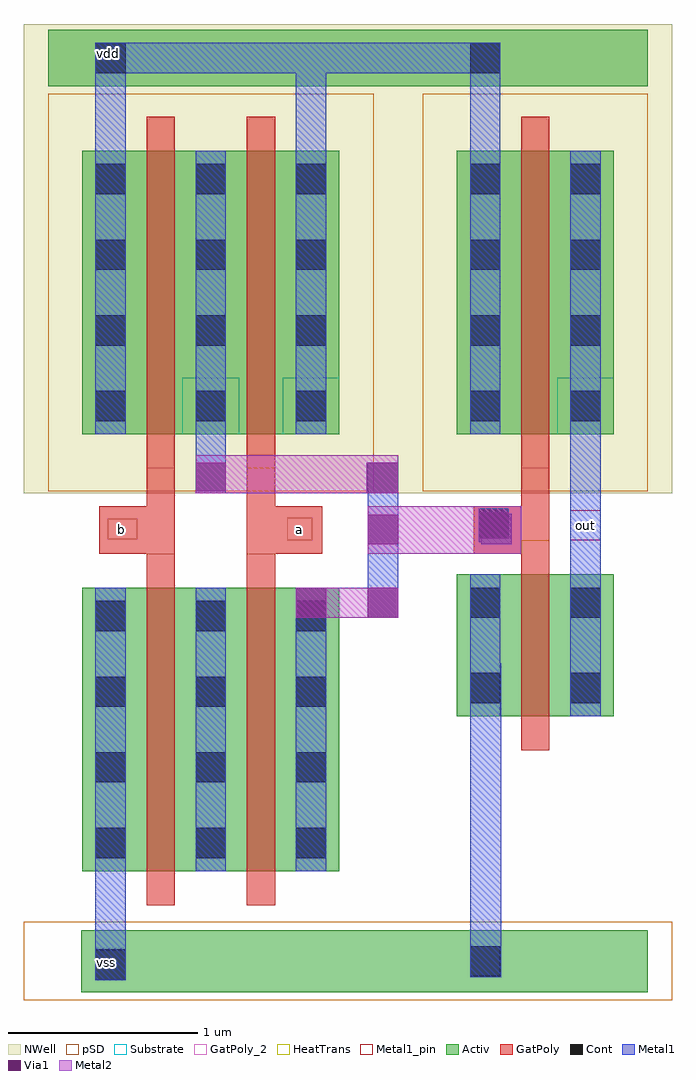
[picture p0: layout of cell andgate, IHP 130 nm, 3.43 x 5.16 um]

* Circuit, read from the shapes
.subckt andgate a b out vdd vss
XM1 n1 b vss vss sg13_lv_nmos w=1.5u l=0.15u
XM2 inverter_3/in a n1 vss sg13_lv_nmos w=1.5u l=0.15u
XM3 out inverter_3/in vss vss sg13_lv_nmos w=0.75u l=0.15u
XM4 inverter_3/in b vdd vdd sg13_lv_pmos w=1.5u l=0.15u
XM5 vdd a inverter_3/in vdd sg13_lv_pmos w=1.5u l=0.15u
XM6 out inverter_3/in vdd vdd sg13_lv_pmos w=1.5u l=0.15u
.ends

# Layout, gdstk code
from math import pi, radians
import gdstk
lib = gdstk.Library(unit=1e-6, precision=5e-09)
def R(c, l, rs):  # rectangles x0, y0, x1, y1
    for r in rs: c.add(gdstk.rectangle(r[:2], r[2:], *l))
def A(c, l, x, y, w, h, nx, ny, dx, dy):  # array of equal rectangles
    R(c, l, [(x+i*dx, y+j*dy, x+i*dx+w, y+j*dy+h) for i in range(nx) for j in range(ny)])
Activ = (1, 0)
GatPoly = (5, 0)
GatPoly_2 = (5, 2)
Cont = (6, 0)
Metal1 = (8, 0)
Metal1_pin = (8, 2)
Metal2 = (10, 0)
pSD = (14, 0)
Via1 = (19, 0)
NWell = (31, 0)
Substrate = (40, 0)
HeatTrans = (51, 0)

nmos_1 = lib.new_cell('nmos$1')
R(nmos_1, Activ, [(0,0,0.3,0.3), (0,0,0.83,1.5), (0.53,0,0.83,0.3)])
R(nmos_1, GatPoly, [(0.34,-0.18,0.49,1.68)])
R(nmos_1, GatPoly_2, [(0.34,-0.18,0.49,1.68)])
A(nmos_1, Cont, 0.07, 0.07, 0.16, 0.16, 1, 4, 0, 0.4)
A(nmos_1, Cont, 0.6, 0.07, 0.16, 0.16, 1, 4, 0, 0.4)
R(nmos_1, Metal1, [(0.07,0,0.23,1.5), (0.6,0,0.76,1.5)])
R(nmos_1, Metal1_pin, [(0.07,0,0.23,1.5), (0.6,0,0.76,1.5)])
R(nmos_1, HeatTrans, [(0.34,-0.18,0.49,1.68)])
nmos_1.add(gdstk.Label('nmos', (0.415,0.75), layer=63, texttype=0))
nmos_1.add(gdstk.Label('nmos', (0.415,0.75), layer=51, texttype=0))

pmos = lib.new_cell('pmos')
R(pmos, Activ, [(0,0,0.3,0.3), (0,0,0.83,1.5), (0.53,0,0.83,0.3)])
R(pmos, GatPoly, [(0.34,-0.18,0.49,1.68), (0.34,-0.18,0.49,1.68)])
A(pmos, Cont, 0.07, 0.07, 0.16, 0.16, 1, 4, 0, 0.4)
A(pmos, Cont, 0.6, 0.07, 0.16, 0.16, 1, 4, 0, 0.4)
R(pmos, Metal1, [(0.07,0,0.23,1.5), (0.07,0,0.23,1.5), (0.6,0,0.76,1.5), (0.6,0,0.76,1.5)])
R(pmos, pSD, [(-0.18,-0.3,1.01,1.8)])
R(pmos, NWell, [(-0.31,-0.31,1.14,1.81)])
R(pmos, Substrate, [(0.53,0,0.83,0.3)])
R(pmos, HeatTrans, [(0.34,-0.18,0.49,1.68)])
pmos.add(gdstk.Label('pmos', (0.415,0.75), layer=63, texttype=0))
pmos.add(gdstk.Label('pmos', (0.415,0.75), layer=51, texttype=0))

nmos = lib.new_cell('nmos')
R(nmos, Activ, [(0,0,0.3,0.3), (0,0,0.83,0.75), (0.53,0,0.83,0.3)])
R(nmos, GatPoly, [(0.34,-0.18,0.49,0.93)])
R(nmos, GatPoly_2, [(0.34,-0.18,0.49,0.93)])
R(nmos, Cont, [(0.07,0.07,0.23,0.23), (0.6,0.07,0.76,0.23), (0.07,0.52,0.23,0.68), (0.6,0.52,0.76,0.68)])
R(nmos, Metal1, [(0.07,0,0.23,0.75), (0.6,0,0.76,0.75)])
R(nmos, Metal1_pin, [(0.07,0,0.23,0.75), (0.6,0,0.76,0.75)])
R(nmos, HeatTrans, [(0.34,-0.18,0.49,0.93)])
nmos.add(gdstk.Label('nmos', (0.415,0.375), layer=63, texttype=0))
nmos.add(gdstk.Label('nmos', (0.415,0.375), layer=51, texttype=0))

pmos_1 = lib.new_cell('pmos$1')
R(pmos_1, Activ, [(0,0,0.3,0.3), (0,0,0.83,1.5), (0.53,0,0.83,0.3)])
R(pmos_1, GatPoly, [(0.34,-0.18,0.49,1.68), (0.34,-0.18,0.49,1.68)])
A(pmos_1, Cont, 0.07, 0.07, 0.16, 0.16, 1, 4, 0, 0.4)
A(pmos_1, Cont, 0.6, 0.07, 0.16, 0.16, 1, 4, 0, 0.4)
R(pmos_1, Metal1, [(0.07,0,0.23,1.5), (0.07,0,0.23,1.5), (0.6,0,0.76,1.5), (0.6,0,0.76,1.5)])
R(pmos_1, pSD, [(-0.18,-0.3,1.01,1.8)])
R(pmos_1, NWell, [(-0.31,-0.31,1.14,1.81)])
R(pmos_1, Substrate, [(0.53,0,0.83,0.3)])
R(pmos_1, HeatTrans, [(0.34,-0.18,0.49,1.68)])
pmos_1.add(gdstk.Label('pmos', (0.415,0.75), layer=63, texttype=0))
pmos_1.add(gdstk.Label('pmos', (0.415,0.75), layer=51, texttype=0))

inverter = lib.new_cell('inverter')
R(inverter, Activ, [(-0.845,-2.585,0.395,-2.255), (-0.795,2.205,0.395,2.505)])
R(inverter, GatPoly, [(-0.525,-0.265,-0.275,-0.015), (-0.275,-0.195,-0.125,0.185)])
R(inverter, GatPoly_2, [(-0.485,-0.215,-0.325,-0.055)])
R(inverter, Cont, [(-0.545,-2.5,-0.385,-2.34), (-0.545,-2.5,-0.385,-2.34), (-0.545,2.275,-0.385,2.435)])
R(inverter, Metal1, [(-0.545,-2.505,-0.38,-0.845), (-0.015,-0.375,0.145,0.365), (-0.545,1.865,-0.385,2.435)])
R(inverter, Metal1_pin, [(-0.015,-0.195,0.145,-0.035)])
R(inverter, pSD, [(-0.925,-2.625,0.525,-2.21)])
R(inverter, NWell, [(-0.925,2.175,0.525,2.535)])
inverter.add(gdstk.Reference(nmos, (-0.615,-1.125)))
inverter.add(gdstk.Reference(pmos_1, (-0.615,0.365)))
inverter.add(gdstk.Label('vss', (-0.475,-2.43), layer=8, texttype=2))
inverter.add(gdstk.Label('vdd', (-0.465,2.355), layer=8, texttype=2))
inverter.add(gdstk.Label('out', (0.06,-0.09), layer=8, texttype=2))
inverter.add(gdstk.Label('in', (-0.45,-0.11), layer=5, texttype=2))

andgate = lib.new_cell('andgate')
R(andgate, Activ, [(-0.62,-2.585,1.135,-2.255), (-0.795,2.205,1.185,2.505)])
R(andgate, GatPoly, [(-0.525,-0.265,-0.125,-0.015), (-0.275,-0.265,-0.125,0.185), (0.255,-0.265,0.405,0.185), (0.255,-0.265,0.655,-0.015)])
R(andgate, GatPoly_2, [(0.47,-0.195,0.6,-0.075), (-0.48,-0.19,-0.325,-0.08)])
R(andgate, Cont, [(-0.545,-2.52,-0.385,-2.36), (1.48,-0.185,1.64,-0.025), (-0.545,2.275,-0.385,2.435)])
R(andgate, Metal1, [(-0.545,-2.52,-0.385,-0.445), (0.895,-0.605,1.055,0.215), (1.48,-0.185,1.64,-0.025), (-0.015,0.055,0.145,0.365), (-0.545,0.365,-0.385,2.435), (-0.545,1.865,-0.385,2.435), (0.515,1.865,0.675,2.435), (-0.545,2.275,0.675,2.435), (0.675,2.275,1.595,2.435)])
R(andgate, Metal1_pin, [(-0.545,-2.52,-0.385,-2.355), (1.965,-0.195,2.125,-0.035), (-0.545,2.275,-0.385,2.435)])
R(andgate, Metal2, [(0.515,-0.605,1.055,-0.445), (0.895,-0.265,1.705,-0.015), (-0.015,0.055,1.055,0.255)])
R(andgate, pSD, [(-0.925,-2.625,1.055,-2.21)])
R(andgate, Via1, [(0.515,-0.605,0.675,-0.445), (0.895,-0.605,1.055,-0.445), (0.895,-0.215,1.055,-0.06), (1.495,-0.215,1.655,-0.055), (1.48,-0.205,1.64,-0.045), (0.89,0.055,1.055,0.215), (-0.015,0.065,0.145,0.215)])
R(andgate, NWell, [(-0.925,2.175,1.055,2.535)])
andgate.add(gdstk.Reference(nmos_1, (0.745,-0.445), rotation=pi))
andgate.add(gdstk.Reference(pmos, (-0.085,0.365)))
andgate.add(gdstk.Reference(pmos, (-0.615,0.365)))
andgate.add(gdstk.Reference(inverter, (1.98,0)))
andgate.add(gdstk.Reference(nmos_1, (-0.615,-1.945)))
andgate.add(gdstk.Label('out', (2.045,-0.115), layer=8, texttype=2))
andgate.add(gdstk.Label('vdd', (-0.475,2.38), layer=8, texttype=2))
andgate.add(gdstk.Label('vss', (-0.485,-2.425), layer=8, texttype=2))
andgate.add(gdstk.Label('a', (0.535,-0.135), layer=5, texttype=2))
andgate.add(gdstk.Label('b', (-0.41,-0.14), layer=5, texttype=2))

lib.write_gds('andgate.gds')
